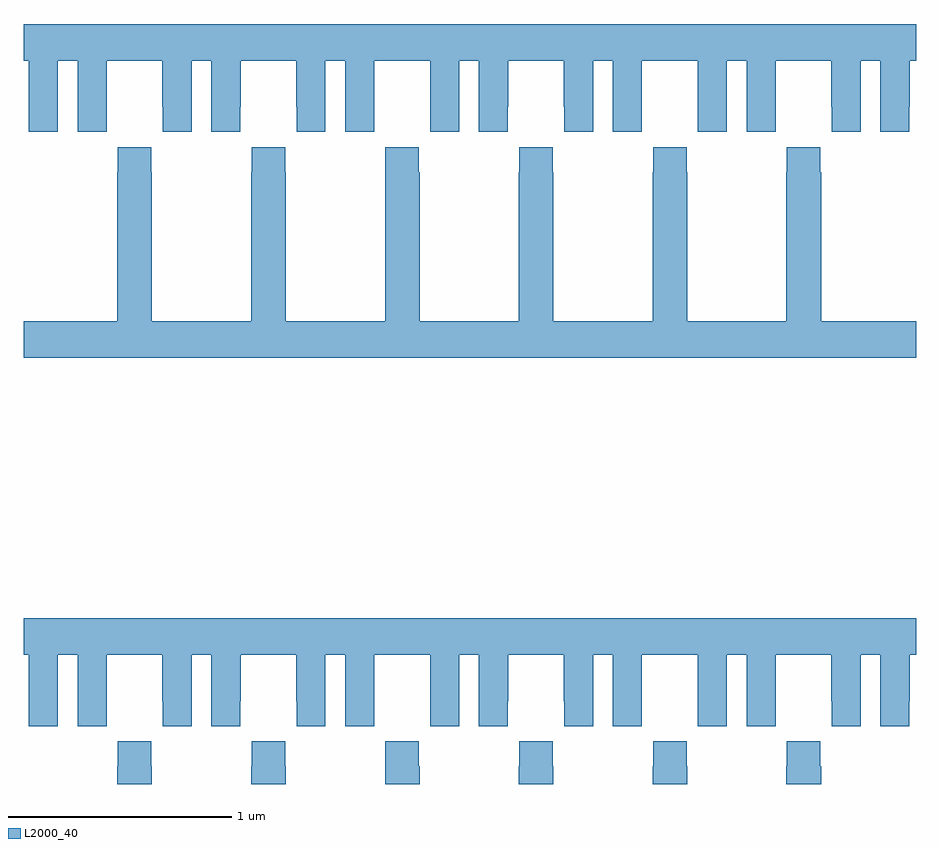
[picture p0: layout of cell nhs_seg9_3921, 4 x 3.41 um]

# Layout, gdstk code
import gdstk
lib = gdstk.Library(unit=1e-6, precision=1e-09)
def P(c, l, *ps):  # polygons
    for p in ps: c.add(gdstk.Polygon(p, *l))
L2000_40 = (2000, 40)

nhs_seg9_3921 = lib.new_cell('nhs_seg9_3921')
P(nhs_seg9_3921, L2000_40, [(335,1205.744),(335.021,1205.744),(335.021,1205.536),(335.022,1205.536),(335.022,1205.424),(335.152,1205.424),(335.152,1205.744),(335.24,1205.744),(335.24,1205.424),(335.37,1205.424),(335.37,1205.536),(335.371,1205.536),(335.371,1205.744),(335.621,1205.744),(335.621,1205.536),(335.622,1205.536),(335.622,1205.424),(335.752,1205.424),(335.752,1205.744),(335.84,1205.744),(335.84,1205.424),(335.97,1205.424),(335.97,1205.536),(335.971,1205.536),(335.971,1205.744),(336.221,1205.744),(336.221,1205.536),(336.222,1205.536),(336.222,1205.424),(336.352,1205.424),(336.352,1205.744),(336.44,1205.744),(336.44,1205.424),(336.57,1205.424),(336.57,1205.536),(336.571,1205.536),(336.571,1205.744),(336.821,1205.744),(336.821,1205.536),(336.822,1205.536),(336.822,1205.424),(336.952,1205.424),(336.952,1205.744),(337.04,1205.744),(337.04,1205.424),(337.17,1205.424),(337.17,1205.536),(337.171,1205.536),(337.171,1205.744),(337.421,1205.744),(337.421,1205.536),(337.422,1205.536),(337.422,1205.424),(337.552,1205.424),(337.552,1205.744),(337.64,1205.744),(337.64,1205.424),(337.77,1205.424),(337.77,1205.536),(337.771,1205.536),(337.771,1205.744),(338.021,1205.744),(338.021,1205.536),(338.022,1205.536),(338.022,1205.424),(338.152,1205.424),(338.152,1205.744),(338.24,1205.744),(338.24,1205.424),(338.37,1205.424),(338.37,1205.536),(338.371,1205.536),(338.371,1205.744),(338.621,1205.744),(338.621,1205.536),(338.622,1205.536),(338.622,1205.424),(338.752,1205.424),(338.752,1205.744),(338.84,1205.744),(338.84,1205.424),(338.97,1205.424),(338.97,1205.536),(338.971,1205.536),(338.971,1205.744),(339,1205.744),(339,1205.908),(335,1205.908)],
  [(339,1204.576),(338.574,1204.576),(338.574,1205.243),(338.571,1205.243),(338.571,1205.356),(338.421,1205.356),(338.421,1205.243),(338.419,1205.243),(338.419,1204.576),(337.974,1204.576),(337.974,1205.243),(337.971,1205.243),(337.971,1205.356),(337.821,1205.356),(337.821,1205.243),(337.819,1205.243),(337.819,1204.576),(337.374,1204.576),(337.374,1205.243),(337.371,1205.243),(337.371,1205.356),(337.221,1205.356),(337.221,1205.243),(337.219,1205.243),(337.219,1204.576),(336.774,1204.576),(336.774,1205.243),(336.771,1205.243),(336.771,1205.356),(336.621,1205.356),(336.621,1205.243),(336.619,1205.243),(336.619,1204.576),(336.174,1204.576),(336.174,1205.243),(336.171,1205.243),(336.171,1205.356),(336.021,1205.356),(336.021,1205.243),(336.019,1205.243),(336.019,1204.576),(335.574,1204.576),(335.574,1205.243),(335.571,1205.243),(335.571,1205.356),(335.421,1205.356),(335.421,1205.243),(335.419,1205.243),(335.419,1204.576),(335,1204.576),(335,1204.412),(339,1204.412)],
  [(335.152,1203.08),(335.24,1203.08),(335.24,1202.76),(335.37,1202.76),(335.37,1202.872),(335.371,1202.872),(335.371,1203.08),(335.621,1203.08),(335.621,1202.872),(335.622,1202.872),(335.622,1202.76),(335.752,1202.76),(335.752,1203.08),(335.84,1203.08),(335.84,1202.76),(335.97,1202.76),(335.97,1202.872),(335.971,1202.872),(335.971,1203.08),(336.221,1203.08),(336.221,1202.872),(336.222,1202.872),(336.222,1202.76),(336.352,1202.76),(336.352,1203.08),(336.44,1203.08),(336.44,1202.76),(336.57,1202.76),(336.57,1202.872),(336.571,1202.872),(336.571,1203.08),(336.821,1203.08),(336.821,1202.872),(336.822,1202.872),(336.822,1202.76),(336.952,1202.76),(336.952,1203.08),(337.04,1203.08),(337.04,1202.76),(337.17,1202.76),(337.17,1202.872),(337.171,1202.872),(337.171,1203.08),(337.421,1203.08),(337.421,1202.872),(337.422,1202.872),(337.422,1202.76),(337.552,1202.76),(337.552,1203.08),(337.64,1203.08),(337.64,1202.76),(337.77,1202.76),(337.77,1202.872),(337.771,1202.872),(337.771,1203.08),(338.021,1203.08),(338.021,1202.872),(338.022,1202.872),(338.022,1202.76),(338.152,1202.76),(338.152,1203.08),(338.24,1203.08),(338.24,1202.76),(338.37,1202.76),(338.37,1202.872),(338.371,1202.872),(338.371,1203.08),(338.621,1203.08),(338.621,1202.872),(338.622,1202.872),(338.622,1202.76),(338.752,1202.76),(338.752,1203.08),(338.84,1203.08),(338.84,1202.76),(338.97,1202.76),(338.97,1202.872),(338.971,1202.872),(338.971,1203.08),(339,1203.08),(339,1203.244),(335,1203.244),(335,1203.08),(335.021,1203.08),(335.021,1202.872),(335.022,1202.872),(335.022,1202.76),(335.152,1202.76)],
  [(338.574,1202.579),(338.571,1202.579),(338.571,1202.692),(338.421,1202.692),(338.421,1202.579),(338.419,1202.579),(338.419,1202.5),(338.574,1202.5)],
  [(337.974,1202.579),(337.971,1202.579),(337.971,1202.692),(337.821,1202.692),(337.821,1202.579),(337.819,1202.579),(337.819,1202.5),(337.974,1202.5)],
  [(337.374,1202.579),(337.371,1202.579),(337.371,1202.692),(337.221,1202.692),(337.221,1202.579),(337.219,1202.579),(337.219,1202.5),(337.374,1202.5)],
  [(336.774,1202.579),(336.771,1202.579),(336.771,1202.692),(336.621,1202.692),(336.621,1202.579),(336.619,1202.579),(336.619,1202.5),(336.774,1202.5)],
  [(336.174,1202.579),(336.171,1202.579),(336.171,1202.692),(336.021,1202.692),(336.021,1202.579),(336.019,1202.579),(336.019,1202.5),(336.174,1202.5)],
  [(335.574,1202.579),(335.571,1202.579),(335.571,1202.692),(335.421,1202.692),(335.421,1202.579),(335.419,1202.579),(335.419,1202.5),(335.574,1202.5)])

lib.write_gds('nhs_seg9_3921.gds')
